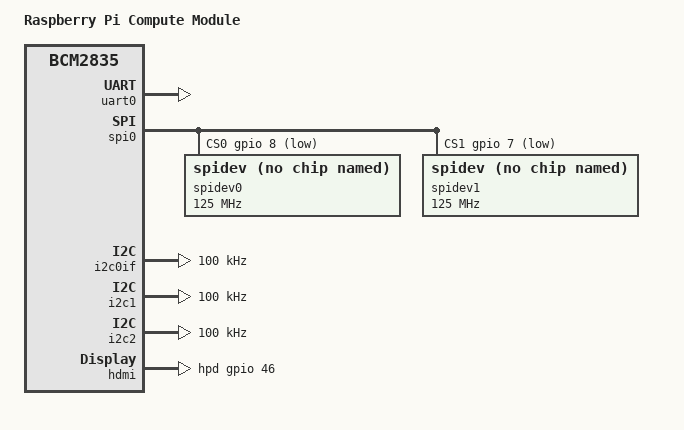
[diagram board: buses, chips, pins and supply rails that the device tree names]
/dts-v1/;

#include "bcm2708-rpi-cm.dtsi"
#include "bcm283x-rpi-csi0-2lane.dtsi"
#include "bcm283x-rpi-csi1-4lane.dtsi"
#include "bcm283x-rpi-i2c0mux_0_28.dtsi"

/ {
	compatible = "raspberrypi,compute-module", "brcm,bcm2835";
	model = "Raspberry Pi Compute Module";
};

&cam1_reg {
	gpio = <&gpio 3 GPIO_ACTIVE_HIGH>;
	status = "disabled";
};

cam0_reg: &cam0_regulator {
	gpio = <&gpio 31 GPIO_ACTIVE_HIGH>;
};

&uart0 {
	status = "okay";
};

&gpio {
	/*
	 * This is based on the official GPU firmware DT blob.
	 *
	 * Legend:
	 * "NC" = not connected (no rail from the SoC)
	 * "FOO" = GPIO line named "FOO" on the schematic
	 * "FOO_N" = GPIO line named "FOO" on schematic, active low
	 */
	gpio-line-names = "GPIO0",
			  "GPIO1",
			  "GPIO2",
			  "GPIO3",
			  "GPIO4",
			  "GPIO5",
			  "GPIO6",
			  "GPIO7",
			  "GPIO8",
			  "GPIO9",
			  "GPIO10",
			  "GPIO11",
			  "GPIO12",
			  "GPIO13",
			  "GPIO14",
			  "GPIO15",
			  "GPIO16",
			  "GPIO17",
			  "GPIO18",
			  "GPIO19",
			  "GPIO20",
			  "GPIO21",
			  "GPIO22",
			  "GPIO23",
			  "GPIO24",
			  "GPIO25",
			  "GPIO26",
			  "GPIO27",
			  "GPIO28",
			  "GPIO29",
			  "GPIO30",
			  "GPIO31",
			  "GPIO32",
			  "GPIO33",
			  "GPIO34",
			  "GPIO35",
			  "GPIO36",
			  "GPIO37",
			  "GPIO38",
			  "GPIO39",
			  "GPIO40",
			  "GPIO41",
			  "GPIO42",
			  "GPIO43",
			  "GPIO44",
			  "GPIO45",
			  "HDMI_HPD_N",
			  /* Also used as ACT LED */
			  "EMMC_EN_N",
			  /* Used by eMMC */
			  "SD_CLK_R",
			  "SD_CMD_R",
			  "SD_DATA0_R",
			  "SD_DATA1_R",
			  "SD_DATA2_R",
			  "SD_DATA3_R";

	spi0_pins: spi0_pins {
		brcm,pins = <9 10 11>;
		brcm,function = <4>; /* alt0 */
	};

	spi0_cs_pins: spi0_cs_pins {
		brcm,pins = <8 7>;
		brcm,function = <1>; /* output */
	};

	i2c0_pins: i2c0 {
		brcm,pins = <0 1>;
		brcm,function = <4>;
	};

	i2c1_pins: i2c1 {
		brcm,pins = <2 3>;
		brcm,function = <4>;
	};

	i2s_pins: i2s {
		brcm,pins = <18 19 20 21>;
		brcm,function = <4>; /* alt0 */
	};

	audio_pins: audio_pins {
		brcm,pins;
		brcm,function;
	};
};

&spi0 {
	pinctrl-names = "default";
	pinctrl-0 = <&spi0_pins &spi0_cs_pins>;
	cs-gpios = <&gpio 8 1>, <&gpio 7 1>;

	spidev0: spidev@0{
		compatible = "spidev";
		reg = <0>;	/* CE0 */
		#address-cells = <1>;
		#size-cells = <0>;
		spi-max-frequency = <125000000>;
	};

	spidev1: spidev@1{
		compatible = "spidev";
		reg = <1>;	/* CE1 */
		#address-cells = <1>;
		#size-cells = <0>;
		spi-max-frequency = <125000000>;
	};
};

&i2c0if {
	clock-frequency = <100000>;
};

&i2c1 {
	pinctrl-names = "default";
	pinctrl-0 = <&i2c1_pins>;
	clock-frequency = <100000>;
};

&i2c2 {
	clock-frequency = <100000>;
};

&i2s {
	pinctrl-names = "default";
	pinctrl-0 = <&i2s_pins>;
};

&vchiq {
	pinctrl-names = "default";
	pinctrl-0 = <&audio_pins>;
};

&hdmi {
	hpd-gpios = <&gpio 46 GPIO_ACTIVE_HIGH>;
};
